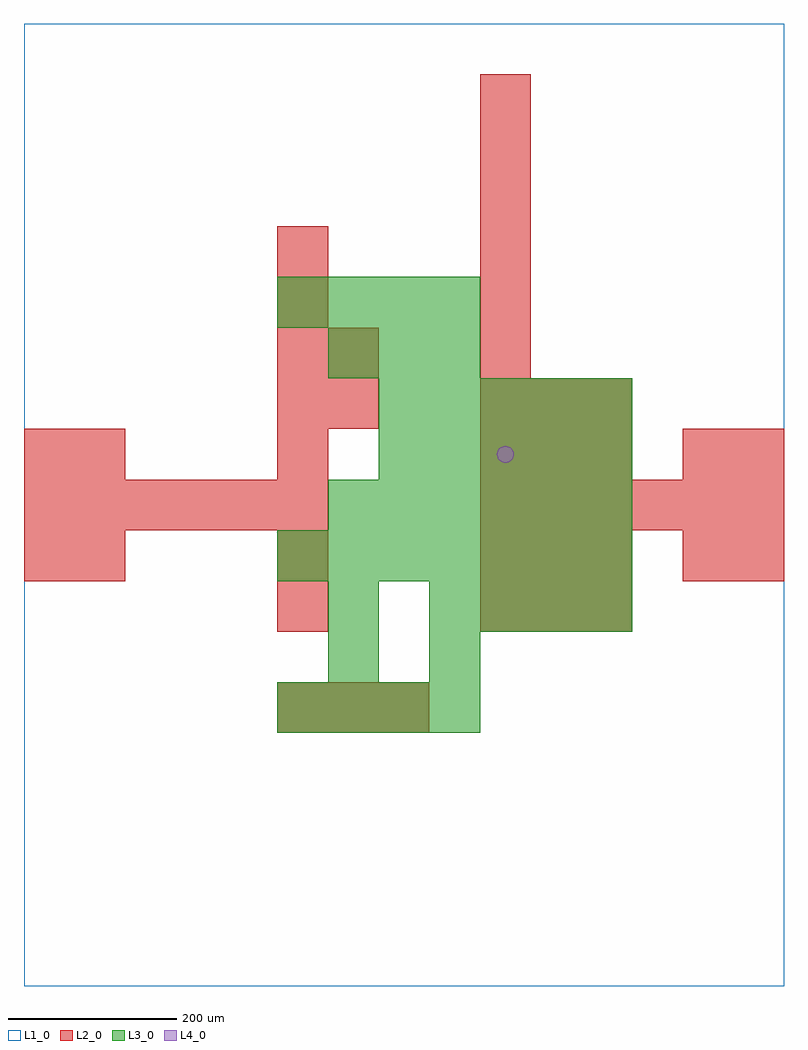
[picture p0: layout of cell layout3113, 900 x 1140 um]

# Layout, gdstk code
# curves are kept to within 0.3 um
import gdstk
lib = gdstk.Library(unit=1e-6, precision=1e-09)
def R(c, l, rs):  # rectangles x0, y0, x1, y1
    for r in rs: c.add(gdstk.rectangle(r[:2], r[2:], *l))
def A(c, l, x, y, w, h, nx, ny, dx, dy):  # array of equal rectangles
    R(c, l, [(x+i*dx, y+j*dy, x+i*dx+w, y+j*dy+h) for i in range(nx) for j in range(ny)])
def P(c, l, *ps):  # polygons
    for p in ps: c.add(gdstk.Polygon(p, *l))
L1_0 = (1, 0)
L2_0 = (2, 0)
L3_0 = (3, 0)
L4_0 = (4, 0)

layout3113 = lib.new_cell('layout3113')
R(layout3113, L1_0, [(0,0,900,1140)])
A(layout3113, L2_0, 300, 300, 60, 60, 3, 1, 60, 0)
A(layout3113, L2_0, 540, 420, 60, 60, 3, 2, 60, 240)
A(layout3113, L2_0, 60, 480, 60, 60, 3, 2, 240, 120)
A(layout3113, L2_0, 0, 540, 60, 60, 6, 1, 60, 0)
A(layout3113, L2_0, 540, 540, 60, 60, 6, 1, 60, 0)
A(layout3113, L2_0, 300, 660, 60, 60, 1, 4, 0, 60)
A(layout3113, L2_0, 540, 720, 60, 60, 1, 6, 0, 60)
R(layout3113, L2_0, [(300,420,360,480), (0,480,60,540), (600,480,660,540), (660,480,720,540), (780,480,840,540), (840,480,900,540), (0,600,60,660), (600,600,660,660), (660,600,720,660), (780,600,840,660), (840,600,900,660), (360,660,420,720), (360,720,420,780)])
A(layout3113, L3_0, 300, 300, 60, 60, 4, 2, 60, 480)
A(layout3113, L3_0, 480, 420, 60, 60, 4, 1, 60, 0)
A(layout3113, L3_0, 300, 480, 60, 60, 7, 1, 60, 0)
A(layout3113, L3_0, 360, 540, 60, 60, 6, 1, 60, 0)
A(layout3113, L3_0, 420, 600, 60, 60, 5, 2, 60, 60)
A(layout3113, L3_0, 360, 720, 60, 60, 3, 1, 60, 0)
R(layout3113, L3_0, [(360,360,420,420), (480,360,540,420), (360,420,420,480)])
P(layout3113, L4_0, [(580,630),(579.239,633.827),(577.071,637.071),(573.827,639.239),(570,640),(566.173,639.239),(562.929,637.071),(560.761,633.827),(560,630),(560.761,626.173),(562.929,622.929),(566.173,620.761),(570,620),(573.827,620.761),(577.071,622.929),(579.239,626.173)])

lib.write_gds('layout3113.gds')
